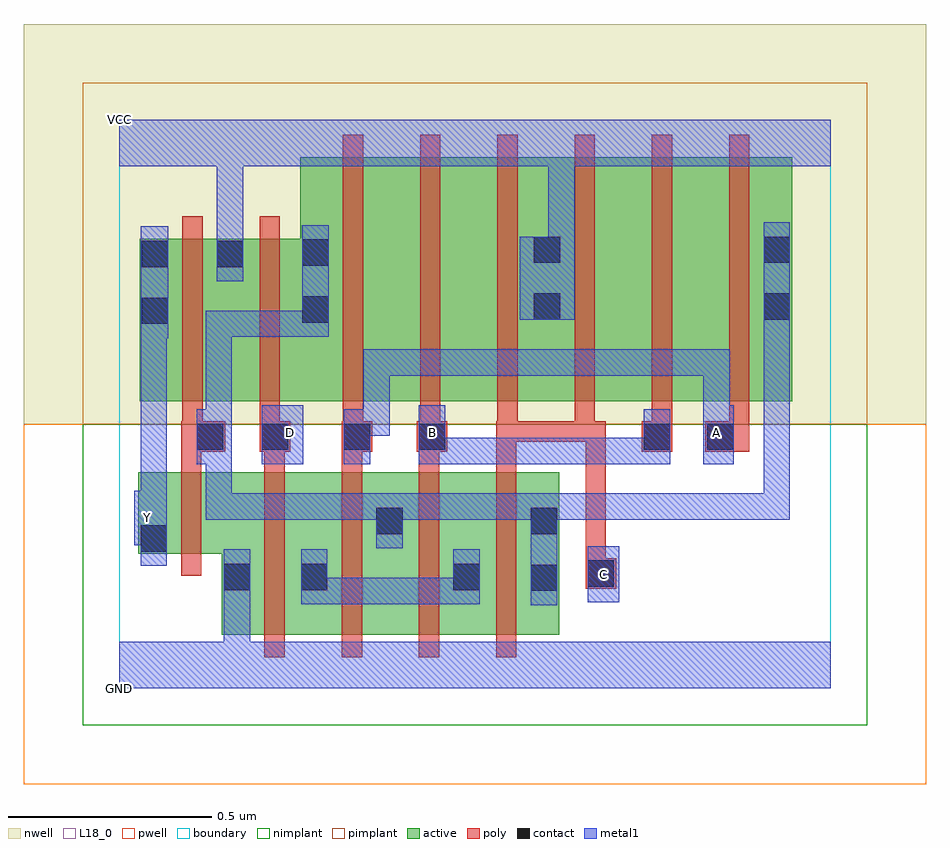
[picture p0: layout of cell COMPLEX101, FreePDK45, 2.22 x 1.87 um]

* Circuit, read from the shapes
.subckt COMPLEX101 A B C D GND VCC Y
M1 GND n1 Y VSUBS nfet w=0.2u l=0.05u
M2 n2 D GND VSUBS nfet w=0.4u l=0.05u
M3 n1 A n2 VSUBS nfet w=0.4u l=0.05u
M4 n2 B n1 VSUBS nfet w=0.4u l=0.05u
M5 n1 C n2 VSUBS nfet w=0.4u l=0.05u
M6 VCC n1 Y n3 pfet w=0.4u l=0.05u
M7 n1 D VCC n3 pfet w=0.4u l=0.05u
M8 n4 A n1 n3 pfet w=0.6u l=0.05u
M9 n5 B n4 n3 pfet w=0.6u l=0.05u
M10 VCC C n5 n3 pfet w=0.6u l=0.05u
M11 n6 C VCC n3 pfet w=0.6u l=0.05u
M12 n7 B n6 n3 pfet w=0.6u l=0.05u
M13 n1 A n7 n3 pfet w=0.6u l=0.05u
.ends

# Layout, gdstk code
import gdstk
lib = gdstk.Library(unit=1e-6, precision=1e-09)
def R(c, l, rs):  # rectangles x0, y0, x1, y1
    for r in rs: c.add(gdstk.rectangle(r[:2], r[2:], *l))
def A(c, l, x, y, w, h, nx, ny, dx, dy):  # array of equal rectangles
    R(c, l, [(x+i*dx, y+j*dy, x+i*dx+w, y+j*dy+h) for i in range(nx) for j in range(ny)])
active = (1, 0)
pwell = (2, 0)
nwell = (3, 0)
nimplant = (4, 0)
pimplant = (5, 0)
poly = (9, 0)
contact = (10, 0)
metal1 = (11, 0)
L18_0 = (18, 0)
boundary = (235, 0)

complex101 = lib.new_cell('COMPLEX101')
R(complex101, active, [(0.252,0.132,0.517,0.532), (0.252,0.132,0.327,0.332), (0.442,0.132,0.702,0.532), (0.627,0.132,0.892,0.532), (0.817,0.132,1.082,0.532), (0.442,0.195,0.517,0.492), (0.627,0.195,0.702,0.492), (0.817,0.195,0.892,0.492), (1.007,0.195,1.082,0.532), (0.047,0.332,0.122,0.532), (0.047,0.332,0.327,0.532), (0.05,0.707,0.31,1.107), (0.05,0.707,0.125,1.107), (0.235,0.707,0.52,1.107), (0.445,0.707,0.52,1.2), (0.445,0.707,0.67,1.307), (0.67,0.707,0.86,1.307), (0.86,0.707,1.09,1.307), (1.015,0.707,1.24,1.307), (1.015,0.707,1.09,1.305), (1.24,0.707,1.43,1.307), (1.43,0.707,1.655,1.307), (1.58,0.707,1.655,1.2), (0.235,0.802,0.31,1.107)])
R(complex101, pwell, [(-0.235,-0.235,1.985,0.65)])
R(complex101, nwell, [(-0.235,0.65,1.985,1.635)])
R(complex101, nimplant, [(-0.09,-0.09,1.84,0.65)])
R(complex101, pimplant, [(-0.09,0.65,1.84,1.49)])
A(complex101, poly, 0.357, 0.077, 0.05, 0.51, 4, 1, 0.19, 0)
A(complex101, poly, 0.357, 0.537, 0.05, 0.095, 3, 1, 0.19, 0)
A(complex101, poly, 0.55, 0.607, 0.05, 0.095, 6, 1, 0.19, 0)
A(complex101, poly, 0.55, 0.652, 0.05, 0.71, 6, 1, 0.19, 0)
R(complex101, poly, [(1.147,0.245,1.222,0.32), (1.147,0.27,1.197,0.657), (0.152,0.277,0.202,0.587), (0.152,0.537,0.202,0.632), (0.927,0.537,0.977,0.657), (0.152,0.582,0.26,0.657), (0.345,0.582,0.42,0.657), (0.547,0.582,0.622,0.657), (0.732,0.582,0.807,0.657), (1.285,0.582,1.36,0.657), (1.442,0.582,1.55,0.657), (0.155,0.607,0.205,0.702), (0.345,0.607,0.395,0.702), (0.927,0.607,0.98,0.657), (0.93,0.607,1.17,0.657), (1.12,0.607,1.17,0.657), (1.12,0.607,1.17,0.657), (1.12,0.607,1.19,0.657), (1.14,0.607,1.19,0.657), (1.14,0.607,1.197,0.657), (0.155,0.652,0.205,1.162), (0.345,0.652,0.395,1.162)])
R(complex101, contact, [(1.012,0.24,1.077,0.305), (0.257,0.242,0.322,0.307), (0.447,0.242,0.512,0.307), (0.822,0.242,0.887,0.307), (1.152,0.25,1.217,0.315), (0.052,0.337,0.117,0.402), (0.632,0.38,0.697,0.445), (1.012,0.38,1.077,0.445), (0.19,0.587,0.255,0.652), (0.35,0.587,0.415,0.652), (0.552,0.587,0.617,0.652), (0.737,0.587,0.802,0.652), (1.29,0.587,1.355,0.652), (1.447,0.587,1.512,0.652), (0.055,0.897,0.12,0.962), (0.45,0.9,0.515,0.965), (1.02,0.907,1.085,0.972), (1.585,0.907,1.65,0.972), (0.055,1.037,0.12,1.102), (0.24,1.037,0.305,1.102), (0.45,1.04,0.515,1.105), (1.02,1.047,1.085,1.112), (1.585,1.047,1.65,1.112)])
R(complex101, metal1, [(0,0,1.75,0.115), (0.257,0.05,0.322,0.272), (1.012,0.205,1.077,0.48), (0.257,0.207,0.322,0.342), (0.447,0.207,0.512,0.342), (0.447,0.207,0.665,0.272), (0.6,0.207,0.665,0.272), (0.6,0.207,0.665,0.272), (0.6,0.207,0.665,0.272), (0.6,0.207,0.802,0.272), (0.737,0.207,0.802,0.272), (0.737,0.207,0.887,0.272), (0.822,0.207,0.887,0.342), (1.152,0.212,1.23,0.35), (0.052,0.302,0.117,0.437), (0.632,0.345,0.697,0.48), (0.037,0.352,0.117,0.487), (0.052,0.372,0.117,0.437), (0.212,0.415,0.277,0.48), (0.212,0.415,0.48,0.48), (0.212,0.415,0.277,0.617), (0.415,0.415,0.48,0.48), (0.415,0.415,0.48,0.48), (0.415,0.415,0.48,0.48), (0.415,0.415,0.617,0.48), (0.552,0.415,0.617,0.48), (0.552,0.415,0.697,0.48), (0.632,0.415,0.835,0.48), (0.77,0.415,0.835,0.48), (0.77,0.415,0.835,0.48), (0.77,0.415,0.835,0.48), (0.77,0.415,1.077,0.48), (1.012,0.415,1.077,0.48), (1.012,0.415,1.077,0.48), (1.012,0.415,1.217,0.48), (1.152,0.415,1.217,0.48), (1.152,0.415,1.355,0.48), (1.29,0.415,1.355,0.48), (1.29,0.415,1.355,0.48), (1.29,0.415,1.355,0.48), (1.29,0.415,1.492,0.48), (1.427,0.415,1.492,0.48), (1.427,0.415,1.65,0.48), (1.585,0.415,1.65,0.48), (1.585,0.415,1.65,0.48), (1.585,0.415,1.65,0.48), (1.585,0.415,1.65,0.937), (0.052,0.422,0.117,0.927), (0.19,0.552,0.255,0.687), (0.19,0.552,0.277,0.617), (0.212,0.552,0.277,0.617), (0.212,0.552,0.277,0.93), (0.35,0.552,0.452,0.697), (0.552,0.552,0.617,0.687), (0.737,0.552,0.912,0.617), (0.737,0.552,0.802,0.697), (0.847,0.552,0.912,0.617), (0.847,0.552,0.972,0.617), (0.907,0.552,0.972,0.617), (0.907,0.552,1.217,0.617), (1.152,0.552,1.217,0.617), (1.152,0.552,1.217,0.617), (1.152,0.552,1.217,0.617), (1.152,0.552,1.355,0.617), (1.29,0.552,1.355,0.617), (1.29,0.552,1.355,0.617), (1.29,0.552,1.355,0.687), (1.437,0.552,1.512,0.697), (0.552,0.622,0.665,0.687), (0.6,0.622,0.665,0.687), (0.6,0.622,0.665,0.835), (1.437,0.632,1.502,0.697), (1.437,0.632,1.502,0.697), (1.437,0.632,1.502,0.835), (0.6,0.77,0.665,0.835), (0.6,0.77,0.835,0.835), (0.77,0.77,0.835,0.835), (0.77,0.77,0.835,0.835), (0.77,0.77,0.835,0.835), (0.77,0.77,1.08,0.835), (1.015,0.77,1.08,0.835), (1.015,0.77,1.08,0.835), (1.015,0.77,1.08,0.835), (1.015,0.77,1.217,0.835), (1.152,0.77,1.217,0.835), (1.152,0.77,1.355,0.835), (1.29,0.77,1.355,0.835), (1.29,0.77,1.355,0.835), (1.29,0.77,1.355,0.835), (1.29,0.77,1.502,0.835), (1.437,0.77,1.502,0.835), (0.052,0.862,0.12,1.137), (0.212,0.865,0.277,0.93), (0.212,0.865,0.48,0.93), (0.415,0.865,0.48,0.93), (0.415,0.865,0.515,0.93), (0.45,0.865,0.515,1.14), (1.585,0.872,1.65,0.937), (1.585,0.872,1.65,0.937), (1.585,0.872,1.65,1.147), (0.985,0.907,1.12,1.112), (0.24,1.002,0.305,1.137), (1.055,1.047,1.12,1.35), (0.24,1.072,0.305,1.137), (0.24,1.072,0.305,1.137), (0.24,1.072,0.305,1.35), (0,1.285,1.75,1.4)])
R(complex101, L18_0, [(0,0,1.75,0.115), (0.257,0.05,0.322,0.272), (0.257,0.207,0.322,0.342), (1.152,0.212,1.23,0.35), (1.157,0.247,1.222,0.312), (0.052,0.302,0.117,0.437), (0.037,0.352,0.117,0.487), (0.052,0.372,0.117,0.437), (0.037,0.387,0.102,0.452), (0.052,0.422,0.117,0.927), (0.35,0.552,0.452,0.697), (0.552,0.552,0.617,0.687), (0.737,0.552,0.802,0.697), (0.737,0.552,0.912,0.617), (0.847,0.552,0.912,0.617), (0.847,0.552,0.972,0.617), (0.907,0.552,0.972,0.617), (0.907,0.552,1.217,0.617), (1.152,0.552,1.217,0.617), (1.152,0.552,1.217,0.617), (1.152,0.552,1.217,0.617), (1.152,0.552,1.355,0.617), (1.29,0.552,1.355,0.687), (1.29,0.552,1.355,0.617), (1.29,0.552,1.355,0.617), (1.437,0.552,1.512,0.697), (0.387,0.597,0.452,0.662), (0.737,0.597,0.802,0.662), (1.437,0.597,1.502,0.662), (0.552,0.622,0.665,0.687), (0.6,0.622,0.665,0.687), (0.6,0.622,0.665,0.835), (1.437,0.632,1.502,0.697), (1.437,0.632,1.502,0.697), (1.437,0.632,1.502,0.835), (0.6,0.77,0.665,0.835), (0.6,0.77,0.835,0.835), (0.77,0.77,0.835,0.835), (0.77,0.77,0.835,0.835), (0.77,0.77,0.835,0.835), (0.77,0.77,1.08,0.835), (1.015,0.77,1.08,0.835), (1.015,0.77,1.08,0.835), (1.015,0.77,1.08,0.835), (1.015,0.77,1.217,0.835), (1.152,0.77,1.217,0.835), (1.152,0.77,1.355,0.835), (1.29,0.77,1.355,0.835), (1.29,0.77,1.355,0.835), (1.29,0.77,1.355,0.835), (1.29,0.77,1.502,0.835), (1.437,0.77,1.502,0.835), (0.052,0.862,0.12,1.137), (0.985,0.907,1.12,1.112), (0.24,1.002,0.305,1.137), (1.055,1.047,1.12,1.35), (0.24,1.072,0.305,1.137), (0.24,1.072,0.305,1.137), (0.24,1.072,0.305,1.35), (0,1.285,1.75,1.4)])
R(complex101, boundary, [(0,0,1.75,1.4)])
complex101.add(gdstk.Label('A', (1.47,0.63), layer=11, texttype=0))
complex101.add(gdstk.Label('B', (0.77,0.63), layer=11, texttype=0))
complex101.add(gdstk.Label('C', (1.19,0.28), layer=11, texttype=0))
complex101.add(gdstk.Label('D', (0.42,0.63), layer=11, texttype=0))
complex101.add(gdstk.Label('Y', (0.07,0.42), layer=11, texttype=0))
complex101.add(gdstk.Label('VCC', (0,1.4), layer=11, texttype=0))
complex101.add(gdstk.Label('GND', (0,0), layer=11, texttype=0))

lib.write_gds('COMPLEX101.gds')
